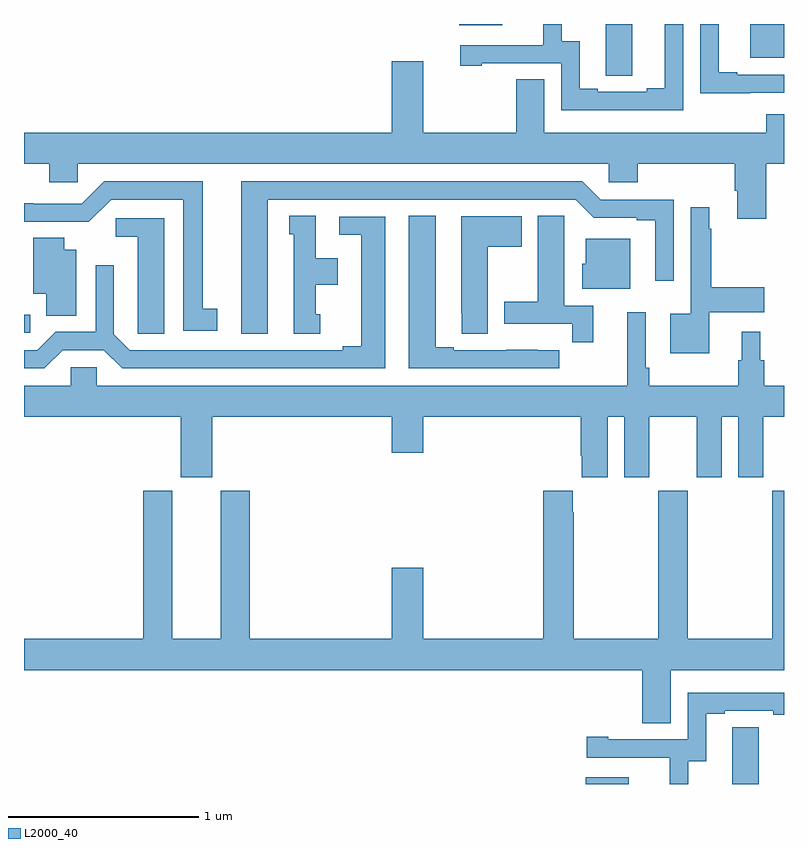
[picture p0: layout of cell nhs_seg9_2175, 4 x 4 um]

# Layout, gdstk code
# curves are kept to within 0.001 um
import gdstk
lib = gdstk.Library(unit=1e-6, precision=1e-09)
def R(c, l, rs):  # rectangles x0, y0, x1, y1
    for r in rs: c.add(gdstk.rectangle(r[:2], r[2:], *l))
def P(c, l, *ps):  # polygons
    for p in ps: c.add(gdstk.Polygon(p, *l))
L2000_40 = (2000, 40)

nhs_seg9_2175 = lib.new_cell('nhs_seg9_2175')
R(nhs_seg9_2175, L2000_40, [(237.956,1182.5,238.183,1182.535), (235,1184.874,235.033,1184.97), (238.823,1186.322,239,1186.5), (237.29,1186.493,237.517,1186.5)])
P(nhs_seg9_2175, L2000_40, [(238.823,1186.137),(239,1186.137),(239,1186.233),(238.753,1186.233),(238.753,1186.246),(238.657,1186.246),(238.657,1186.5),(238.56,1186.5),(238.56,1186.136),(238.823,1186.136)],
  [(238.47,1186.5),(238.373,1186.5),(238.373,1186.163),(238.277,1186.163),(238.277,1186.143),(238.021,1186.143),(238.021,1186.158),(237.925,1186.158),(237.925,1186.409),(237.831,1186.409),(237.831,1186.5),(237.732,1186.5),(237.732,1186.39),(237.731,1186.39),(237.731,1186.389),(237.297,1186.389),(237.297,1186.281),(237.409,1186.281),(237.409,1186.293),(237.828,1186.293),(237.828,1186.047),(238.47,1186.047)],
  [(238.201,1186.5),(238.061,1186.5),(238.061,1186.336),(238.062,1186.336),(238.062,1186.228),(238.201,1186.228)],
  [(238.907,1185.764),(239,1185.764),(239,1186.026),(238.907,1186.026),(238.907,1185.928),(237.739,1185.928),(237.739,1186.208),(237.592,1186.208),(237.592,1185.928),(237.1,1185.928),(237.1,1186.303),(236.936,1186.303),(236.936,1185.928),(235,1185.928),(235,1185.764),(235.133,1185.764),(235.133,1185.666),(235.284,1185.666),(235.284,1185.764),(238.077,1185.764),(238.077,1185.666),(238.229,1185.666),(238.229,1185.764),(238.742,1185.764),(238.742,1185.622),(238.754,1185.622),(238.754,1185.474),(238.907,1185.474)],
  [(236.284,1185.576),(237.903,1185.576),(237.999,1185.48),(238.226,1185.48),(238.226,1185.468),(238.322,1185.468),(238.322,1185.15),(238.419,1185.15),(238.419,1185.576),(238.035,1185.576),(237.939,1185.672),(236.144,1185.672),(236.144,1184.871),(236.284,1184.871)],
  [(236.017,1185.002),(235.942,1185.002),(235.942,1185.672),(235.422,1185.672),(235.305,1185.555),(235.049,1185.555),(235.049,1185.557),(235,1185.557),(235,1185.459),(235.34,1185.458),(235.458,1185.576),(235.838,1185.576),(235.838,1184.886),(236.017,1184.886)],
  [(238.606,1184.984),(238.897,1184.984),(238.897,1185.114),(238.618,1185.114),(238.618,1185.422),(238.606,1185.422),(238.606,1185.535),(238.509,1185.535),(238.509,1184.974),(238.4,1184.974),(238.4,1184.768),(238.606,1184.768)],
  [(237.995,1185.018),(237.844,1185.018),(237.844,1185.38),(237.843,1185.38),(237.843,1185.491),(237.704,1185.491),(237.704,1185.039),(237.527,1185.039),(237.527,1184.922),(237.886,1184.922),(237.886,1184.826),(237.995,1184.826)],
  [(236.56,1184.973),(236.536,1184.973),(236.536,1185.128),(236.65,1185.128),(236.65,1185.268),(236.536,1185.268),(236.536,1185.491),(236.396,1185.491),(236.396,1185.393),(236.42,1185.393),(236.42,1184.871),(236.56,1184.871)],
  [(237.817,1184.784),(237.704,1184.784),(237.704,1184.785),(237.538,1184.785),(237.538,1184.784),(237.262,1184.784),(237.262,1184.799),(237.166,1184.799),(237.166,1185.491),(237.026,1185.491),(237.026,1184.688),(237.817,1184.688)],
  [(237.442,1185.328),(237.619,1185.328),(237.619,1185.487),(237.302,1185.487),(237.302,1184.977),(237.303,1184.977),(237.303,1184.869),(237.442,1184.869)],
  [(235.203,1184.784),(235.421,1184.784),(235.517,1184.688),(236.902,1184.688),(236.902,1185.486),(236.658,1185.486),(236.658,1185.39),(236.774,1185.39),(236.774,1184.804),(236.678,1184.804),(236.678,1184.784),(235.557,1184.784),(235.473,1184.868),(235.473,1185.229),(235.377,1185.229),(235.377,1184.88),(235.167,1184.88),(235.071,1184.784),(235,1184.784),(235,1184.688),(235.107,1184.688)],
  [(235.738,1185.477),(235.482,1185.477),(235.482,1185.38),(235.598,1185.38),(235.598,1184.977),(235.599,1184.977),(235.599,1184.869),(235.738,1184.869)],
  [(235.276,1185.313),(235.213,1185.313),(235.213,1185.374),(235.049,1185.374),(235.049,1185.08),(235.118,1185.08),(235.118,1184.965),(235.276,1184.965)],
  [(238.192,1185.37),(237.956,1185.37),(237.956,1185.237),(237.938,1185.237),(237.938,1185.107),(238.192,1185.107)],
  [(235.99,1184.432),(236.936,1184.432),(236.936,1184.244),(237.1,1184.244),(237.1,1184.432),(237.929,1184.432),(237.929,1184.227),(237.935,1184.227),(237.935,1184.115),(238.072,1184.115),(238.072,1184.432),(238.16,1184.432),(238.16,1184.115),(238.291,1184.115),(238.291,1184.432),(238.541,1184.432),(238.541,1184.115),(238.672,1184.115),(238.672,1184.432),(238.76,1184.432),(238.76,1184.115),(238.891,1184.115),(238.891,1184.432),(239,1184.432),(239,1184.596),(238.895,1184.596),(238.895,1184.73),(238.876,1184.73),(238.876,1184.881),(238.778,1184.881),(238.778,1184.73),(238.759,1184.73),(238.759,1184.596),(238.292,1184.596),(238.292,1184.692),(238.272,1184.692),(238.272,1184.983),(238.175,1184.983),(238.175,1184.596),(235.383,1184.596),(235.383,1184.694),(235.245,1184.694),(235.245,1184.596),(235,1184.596),(235,1184.432),(235.826,1184.432),(235.826,1184.115),(235.99,1184.115)],
  [(238.405,1183.1),(239,1183.1),(239,1184.044),(238.939,1184.044),(238.939,1183.264),(238.494,1183.264),(238.494,1184.044),(238.339,1184.044),(238.339,1183.264),(237.894,1183.264),(237.894,1183.931),(237.889,1183.931),(237.889,1184.044),(237.734,1184.044),(237.734,1183.264),(237.1,1183.264),(237.1,1183.639),(236.936,1183.639),(236.936,1183.264),(236.189,1183.264),(236.189,1184.043),(236.036,1184.043),(236.036,1183.264),(235.78,1183.264),(235.78,1184.043),(235.628,1184.043),(235.628,1183.264),(235,1183.264),(235,1183.1),(238.253,1183.1),(238.253,1182.82),(238.405,1182.82)],
  [(238.497,1182.619),(238.591,1182.619),(238.591,1182.87),(238.687,1182.87),(238.687,1182.885),(238.943,1182.885),(238.943,1182.865),(239,1182.865),(239,1182.981),(238.494,1182.981),(238.494,1182.735),(238.075,1182.735),(238.075,1182.748),(237.963,1182.748),(237.963,1182.639),(238.397,1182.639),(238.397,1182.638),(238.398,1182.638),(238.398,1182.5),(238.497,1182.5)],
  [(238.867,1182.8),(238.728,1182.8),(238.728,1182.692),(238.727,1182.692),(238.727,1182.5),(238.867,1182.5)])

lib.write_gds('nhs_seg9_2175.gds')
